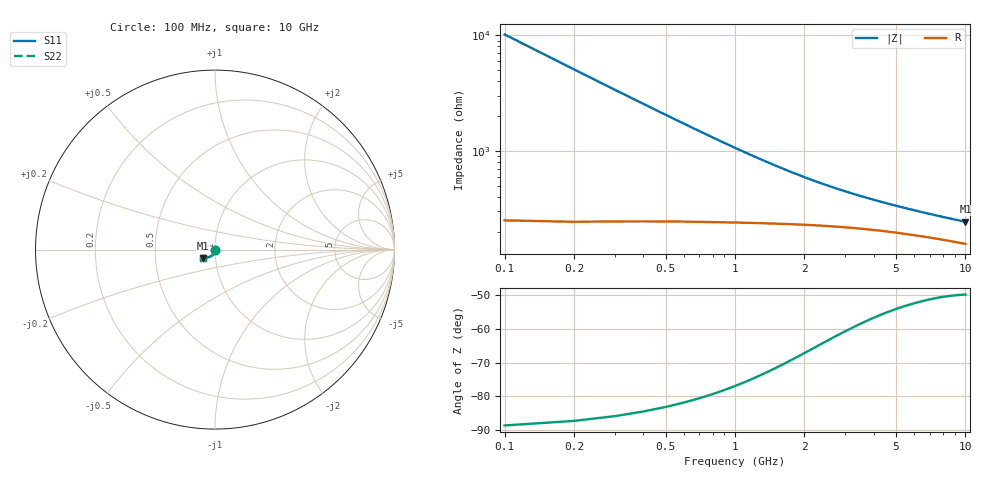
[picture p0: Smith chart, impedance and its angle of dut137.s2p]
! Touchstone file exported from HFSS 2024.1.0
!  File:  C:/UserFiles/LocalFiles/RDL_TSV_Batchsim/temp_TSV1_137_1778754245.aedt
!  Generated:  06:29:06 PM May 14, 2026
!  Design:  TSV1
!  Project:  temp_TSV1_137_1778754245
!  Setup:  Setup1
!  Solution:  Sweep
! Variables:
!  dtsv = 17.21um
!  hbump = 3um
!  htsv = 75.03um
!  lrdl = 252.1521522um
!  p = 40
!  p1 = 45.15um
!  t = 500um
!  trdl = 3um
!  wrdl = 24.89489489um
# GHz S MA R 50.000000
! Terminal data exported
! Port[1] = TSV22_T1
! Port[2] = TSV22_T2
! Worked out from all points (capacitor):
!   100 points, 100 MHz to 10 GHz, reference 50 ohm
!   read as one part in shunt: C = 157 fF near 100 MHz
!   lowest |Z| = 244 ohm at 10 GHz (marker M1)
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0.1  0.002188 -89.6  0.9999 -0.2  0.9999 -0.2  0.002188 -89.6
! Gamma 0 0 0 0
! Port Impedance 50 0 50 0
0.2  0.00439 -92.0  0.9996 -0.3  0.9996 -0.3  0.00439 -92.0
0.3  0.006582 -94.0  0.9993 -0.5  0.9993 -0.5  0.006582 -94.0
0.4  0.008752 -95.8  0.9989 -0.6  0.9989 -0.6  0.008752 -95.8
0.5  0.01089 -97.5  0.9983 -0.8  0.9983 -0.8  0.01089 -97.5
0.6  0.013 -99.1  0.9977 -0.9  0.9977 -0.9  0.013 -99.1
0.7  0.01506 -100.7  0.9969 -1.0  0.9969 -1.0  0.01506 -100.7
0.8  0.01708 -102.3  0.9961 -1.2  0.9961 -1.2  0.01708 -102.3
0.9  0.01906 -103.8  0.9952 -1.3  0.9952 -1.3  0.01906 -103.8
1.1  0.02284 -106.6  0.9932 -1.6  0.9932 -1.6  0.02284 -106.6
1.4  0.0281 -110.6  0.99 -1.9  0.99 -1.9  0.0281 -110.6
1.6  0.03132 -113.1  0.9877 -2.1  0.9877 -2.1  0.03132 -113.1
1.8  0.03431 -115.3  0.9853 -2.3  0.9853 -2.3  0.03431 -115.3
2.1  0.0384 -118.4  0.9819 -2.5  0.9819 -2.5  0.0384 -118.4
2.5  0.04318 -121.9  0.9774 -2.8  0.9774 -2.8  0.04318 -121.9
2.9  0.04732 -124.9  0.9732 -3.1  0.9732 -3.1  0.04732 -124.9
3.4  0.05177 -128.1  0.9685 -3.3  0.9685 -3.3  0.05177 -128.1
4.2  0.05764 -132.0  0.9621 -3.7  0.9621 -3.7  0.05764 -132.0
5.1  0.06298 -135.4  0.956 -4.0  0.956 -4.0  0.06298 -135.4
6.7  0.07035 -139.5  0.9476 -4.5  0.9476 -4.5  0.07035 -139.5
8.4  0.07627 -142.5  0.9408 -5.1  0.9408 -5.1  0.07627 -142.5
10  0.08067 -144.5  0.9359 -5.5  0.9359 -5.5  0.08067 -144.5
